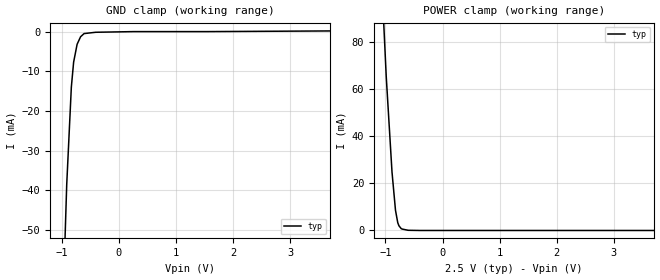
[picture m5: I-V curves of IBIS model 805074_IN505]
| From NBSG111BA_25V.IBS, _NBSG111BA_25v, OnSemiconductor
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| COPYRIGHT(C) MENTOR GRAPHICS CORPORATION 2001 ALL
| RIGHTS RESERVED. THIS WORK CONTAINS PROPRIETARY
| INFORMATION WHICH IS THE PROPERTY OF MENTOR GRAPHICS
| CORPORATION OR ITS LICENSORS. USE OF THESE MATERIALS
| IS SUBJECT TO THE TERMS BELOW.
| USE: YOU MAY USE IBIS MODELS SOLELY FOR DEVELOPING
| PRINTED CIRCUIT BOARD DESIGNS. NO OTHER USE OR
| DISTRIBUTION OF THESE MATERIALS IS PERMITTED.
| Model Application Version 1.89 2/18/99.
[Model] 805074_IN505
Model_type Input
Vinl = 700.0mV
Vinh = 1.700V
C_comp 500.0fF NA NA
| variable typ   min   max
[Voltage Range] 2.500V NA NA
[GND Clamp Reference] 0.000V NA NA
[POWER Clamp Reference] 2.500V NA NA
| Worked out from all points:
|   GND clamp passes 1 mA (typ) near -0.65 V on its own axis
|   POWER clamp passes 1 mA (typ) near -0.73 V on its own axis
[GND Clamp]
-2.5V     -895.5mA   NA         NA
-1.034V   -94.8mA    NA         NA
-912mV    -38.6mA    NA         NA
-831mV    -14mA      NA         NA
-791mV    -7.7mA     NA         NA
-730mV    -3.2mA     NA         NA
-669mV    -1.3mA     NA         NA
-608mV    -500uA     NA         NA
-405.3mV  -169.2uA   NA         NA
263mV     0A         NA         NA
1.55V     0A         NA         NA
5V        268.1uA    NA         NA
[POWER Clamp]
-2.5V     843.3mA    NA         NA
-986mV    65.25mA    NA         NA
-885mV    24.76mA    NA         NA
-824mV    8.562mA    NA         NA
-784mV    3.265mA    NA         NA
-763mV    1.967mA    NA         NA
-723mV    770uA      NA         NA
-702mV    571.6uA    NA         NA
-601mV    79.49uA    NA         NA
-400.7mV  0A         NA         NA
5V        0A         NA         NA
